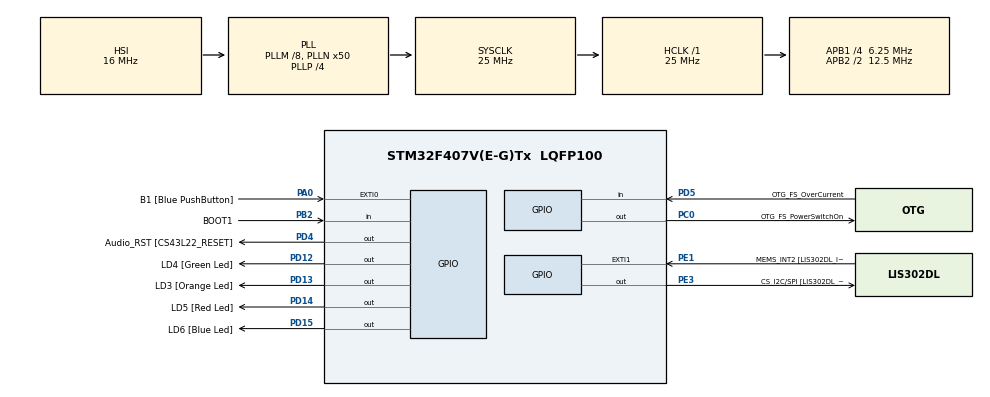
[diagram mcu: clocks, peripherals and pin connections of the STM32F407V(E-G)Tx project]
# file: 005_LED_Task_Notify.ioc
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Mcu.Family=STM32F4
Mcu.Name=STM32F407V(E-G)Tx
Mcu.Package=LQFP100
NVIC.PriorityGroup=NVIC_PRIORITYGROUP_4
NVIC.TIM6_DAC_IRQn=true\:15\:0\:false\:false\:true\:false\:true\:true
NVIC.TimeBase=TIM6_DAC_IRQn
NVIC.TimeBaseIP=TIM6
PA0-WKUP.GPIO_Label=B1 [Blue PushButton]
PA0-WKUP.Signal=GPXTI0
PA10.GPIO_Label=OTG_FS_ID
PA10.GPIO_Mode=GPIO_MODE_AF_PP
PA10.GPIO_PuPd=GPIO_NOPULL
PA10.GPIO_Speed=GPIO_SPEED_FREQ_LOW
PA10.Signal=USB_OTG_FS_ID
PA11.GPIO_Label=OTG_FS_DM
PA11.GPIO_Mode=GPIO_MODE_AF_PP
PA11.GPIO_PuPd=GPIO_NOPULL
PA11.GPIO_Speed=GPIO_SPEED_FREQ_LOW
PA11.Signal=USB_OTG_FS_DM
PA12.GPIO_Label=OTG_FS_DP
PA12.GPIO_Mode=GPIO_MODE_AF_PP
PA12.GPIO_PuPd=GPIO_NOPULL
PA12.GPIO_Speed=GPIO_SPEED_FREQ_LOW
PA12.Signal=USB_OTG_FS_DP
PA13.GPIO_Label=SWDIO
PA13.Signal=SYS_JTMS-SWDIO
PA14.GPIO_Label=SWCLK
PA14.Signal=SYS_JTCK-SWCLK
PA4.GPIO_Label=I2S3_WS [CS43L22_LRCK]
PA4.GPIO_Mode=GPIO_MODE_AF_PP
PA4.GPIO_PuPd=GPIO_NOPULL
PA4.GPIO_Speed=GPIO_SPEED_FREQ_LOW
PA4.Signal=I2S3_WS
PA5.GPIO_Label=SPI1_SCK [LIS302DL_SCL/SPC]
PA5.GPIO_Mode=GPIO_MODE_AF_PP
PA5.GPIO_PuPd=GPIO_NOPULL
PA5.GPIO_Speed=GPIO_SPEED_FREQ_LOW
PA5.Signal=SPI1_SCK
PA6.GPIO_Label=SPI1_MISO [LIS302DL_SDO]
PA6.GPIO_Mode=GPIO_MODE_AF_PP
PA6.GPIO_PuPd=GPIO_NOPULL
PA6.GPIO_Speed=GPIO_SPEED_FREQ_LOW
PA6.Signal=SPI1_MISO
PA7.GPIO_Label=SPI1_MOSI [LIS302DL_SDA/SDI/SDO]
PA7.GPIO_Mode=GPIO_MODE_AF_PP
PA7.GPIO_PuPd=GPIO_NOPULL
PA7.GPIO_Speed=GPIO_SPEED_FREQ_LOW
PA7.Signal=SPI1_MOSI
PA9.GPIO_Label=VBUS_FS
PA9.GPIO_Mode=GPIO_MODE_INPUT
PA9.GPIO_PuPd=GPIO_NOPULL
PA9.Signal=USB_OTG_FS_VBUS
PB10.GPIO_Label=CLK_IN [MP45DT02_CLK]
PB10.GPIO_Mode=GPIO_MODE_AF_PP
PB10.GPIO_PuPd=GPIO_NOPULL
PB10.GPIO_Speed=GPIO_SPEED_FREQ_LOW
PB10.Signal=I2S2_CK
PB2.GPIO_Label=BOOT1
PB2.GPIO_Mode=GPIO_MODE_INPUT
PB2.GPIO_PuPd=GPIO_NOPULL
PB2.Signal=GPIO_Input
PB3.GPIO_Label=SWO
PB3.Signal=SYS_JTDO-SWO
PB6.GPIO_Label=Audio_SCL [CS43L22_SCL]
PB6.GPIO_Mode=GPIO_MODE_AF_OD
PB6.GPIO_PuPd=GPIO_NOPULL
PB6.GPIO_Speed=GPIO_SPEED_FREQ_LOW
PB6.Signal=I2C1_SCL
PB9.GPIO_Label=Audio_SDA [CS43L22_SDA]
PB9.GPIO_Mode=GPIO_MODE_AF_OD
PB9.GPIO_PuPd=GPIO_NOPULL
PB9.GPIO_Speed=GPIO_SPEED_FREQ_LOW
PB9.Signal=I2C1_SDA
PC0.GPIO_Label=OTG_FS_PowerSwitchOn
PC0.GPIO_PuPd=GPIO_NOPULL
PC0.GPIO_Speed=GPIO_SPEED_FREQ_LOW
PC0.PinState=GPIO_PIN_SET
PC0.Signal=GPIO_Output
PC10.GPIO_Label=I2S3_SCK [CS43L22_SCLK]
PC10.GPIO_Mode=GPIO_MODE_AF_PP
PC10.GPIO_PuPd=GPIO_NOPULL
PC10.GPIO_Speed=GPIO_SPEED_FREQ_LOW
PC10.Signal=I2S3_CK
PC12.GPIO_Label=I2S3_SD [CS43L22_SDIN]
PC12.GPIO_Mode=GPIO_MODE_AF_PP
PC12.GPIO_PuPd=GPIO_NOPULL
PC12.GPIO_Speed=GPIO_SPEED_FREQ_LOW
PC12.Signal=I2S3_SD
PC14-OSC32_IN.GPIO_Label=PC14-OSC32_IN
PC14-OSC32_IN.Signal=RCC_OSC32_IN
PC15-OSC32_OUT.GPIO_Label=PC15-OSC32_OUT
PC15-OSC32_OUT.Signal=RCC_OSC32_OUT
PC3.GPIO_Label=PDM_OUT [MP45DT02_DOUT]
PC3.GPIO_Mode=GPIO_MODE_AF_PP
PC3.GPIO_PuPd=GPIO_NOPULL
PC3.GPIO_Speed=GPIO_SPEED_FREQ_LOW
PC3.Signal=I2S2_SD
PC7.GPIO_Label=I2S3_MCK [CS43L22_MCLK]
PC7.GPIO_Mode=GPIO_MODE_AF_PP
PC7.GPIO_PuPd=GPIO_NOPULL
PC7.GPIO_Speed=GPIO_SPEED_FREQ_LOW
PC7.Signal=I2S3_MCK
PD12.GPIO_Label=LD4 [Green Led]
PD12.GPIO_PuPd=GPIO_NOPULL
PD12.GPIO_Speed=GPIO_SPEED_FREQ_LOW
PD12.Signal=GPIO_Output
PD13.GPIO_Label=LD3 [Orange Led]
PD13.GPIO_PuPd=GPIO_NOPULL
PD13.GPIO_Speed=GPIO_SPEED_FREQ_LOW
PD13.Signal=GPIO_Output
PD14.GPIO_Label=LD5 [Red Led]
PD14.GPIO_PuPd=GPIO_NOPULL
PD14.GPIO_Speed=GPIO_SPEED_FREQ_LOW
PD14.Signal=GPIO_Output
PD15.GPIO_Label=LD6 [Blue Led]
PD15.GPIO_PuPd=GPIO_NOPULL
PD15.GPIO_Speed=GPIO_SPEED_FREQ_LOW
PD15.Signal=GPIO_Output
PD4.GPIO_Label=Audio_RST [CS43L22_RESET]
PD4.GPIO_PuPd=GPIO_NOPULL
PD4.GPIO_Speed=GPIO_SPEED_FREQ_LOW
PD4.Signal=GPIO_Output
PD5.GPIO_Label=OTG_FS_OverCurrent
PD5.GPIO_Mode=GPIO_MODE_INPUT
PD5.GPIO_PuPd=GPIO_NOPULL
PD5.Signal=GPIO_Input
PE1.GPIO_Label=MEMS_INT2 [LIS302DL_INT2]
PE1.GPIO_ModeDefaultEXTI=GPIO_MODE_EVT_RISING
PE1.GPIO_PuPd=GPIO_NOPULL
PE1.Signal=GPXTI1
PE3.GPIO_Label=CS_I2C/SPI [LIS302DL_CS_I2C/SPI]
PE3.GPIO_PuPd=GPIO_NOPULL
PE3.GPIO_Speed=GPIO_SPEED_FREQ_LOW
PE3.Signal=GPIO_Output
PH0-OSC_IN.GPIO_Label=PH0-OSC_IN
PH0-OSC_IN.Signal=RCC_OSC_IN
PH1-OSC_OUT.GPIO_Label=PH1-OSC_OUT
PH1-OSC_OUT.Signal=RCC_OSC_OUT
ProjectManager.HeapSize=0x200
ProjectManager.StackSize=0x400
ProjectManager.TargetToolchain=STM32CubeIDE
RCC.48MHZClocksFreq_Value=14285714.285714285
RCC.AHBFreq_Value=25000000
RCC.APB1CLKDivider=RCC_HCLK_DIV4
RCC.APB1Freq_Value=6250000
RCC.APB1TimFreq_Value=12500000
RCC.APB2CLKDivider=RCC_HCLK_DIV2
RCC.APB2Freq_Value=12500000
RCC.APB2TimFreq_Value=25000000
RCC.CortexFreq_Value=25000000
RCC.HCLKFreq_Value=25000000
RCC.HSE_VALUE=8000000
RCC.HSI_VALUE=16000000
RCC.LSE_VALUE=32768
RCC.PLLM=8
RCC.PLLN=50
RCC.PLLP=RCC_PLLP_DIV4
RCC.PLLQ=7
RCC.SYSCLKFreq_VALUE=25000000
RCC.SYSCLKSource=RCC_SYSCLKSOURCE_PLLCLK
RCC.VCOOutputFreq_Value=100000000
VP_SYS_VS_tim6.Mode=TIM6
board=STM32F407G-DISC1

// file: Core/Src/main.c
/* USER CODE BEGIN Header */
/**
  ******************************************************************************
  * @file           : main.c
  * @brief          : Main program body
  ******************************************************************************
  * @attention
  *
  * Copyright (c) 2025 STMicroelectronics.
  * All rights reserved.
  *
  * This software is licensed under terms that can be found in the LICENSE file
  * in the root directory of this software component.
  * If no LICENSE file comes with this software, it is provided AS-IS.
  *
  ******************************************************************************
  */
/* USER CODE END Header */
#include "main.h"

/* USER CODE BEGIN Includes */
#include <stdio.h>
#include "FreeRTOS.h"
#include "task.h"

/* USER CODE END Includes */

/* USER CODE BEGIN PV */
#define DWT_CTRL	(*(volatile uint32_t*)0xE0001000)

/* USER CODE END PV */

void SystemClock_Config(void);
static void MX_GPIO_Init(void);
/* USER CODE BEGIN PFP */
static void led_green_handler (void * parameters);
static void led_red_handler (void * parameters);
static void led_orange_handler (void * parameters);
static void button_handler(void * parameters);

extern void SEGGER_UART_init(uint32_t);
/* USER CODE END PFP */

/* USER CODE BEGIN 0 */
TaskHandle_t ledg_task_handle;
TaskHandle_t ledo_task_handle;
TaskHandle_t ledr_task_handle;
TaskHandle_t btn_task_handle;

TaskHandle_t volatile next_task_handle = NULL;

/* USER CODE END 0 */

int main(void)
{

  /* USER CODE BEGIN 1 */

	BaseType_t status;
  /* USER CODE END 1 */

  /* MCU Configuration--------------------------------------------------------*/

  /* Reset of all peripherals, Initializes the Flash interface and the Systick. */

	HAL_Init();

  /* Configure the system clock */
  SystemClock_Config();

  /* Initialize all configured peripherals */
  MX_GPIO_Init();
  /* USER CODE BEGIN 2 */

  //Enable the CYCCNT counter.
  DWT_CTRL |= (1 << 0);

  SEGGER_UART_init(250000);

  //call the below API to get the logs in sysview app
  SEGGER_SYSVIEW_Conf();
  //SEGGER_SYSVIEW_Start(); //will be called in segger_uart.c file

  status = xTaskCreate (led_green_handler, "LED_Green_Task", 200, NULL, 3, &ledg_task_handle);
  configASSERT(status == pdPASS);

  next_task_handle = ledg_task_handle;

  status = xTaskCreate (led_orange_handler, "LED_Orange_Task", 200, NULL, 2, &ledo_task_handle);
  configASSERT(status == pdPASS);

  status = xTaskCreate (led_red_handler, "LED_Red_Task", 200, NULL, 1, &ledr_task_handle);
  configASSERT(status == pdPASS);

  status = xTaskCreate (button_handler, "BUTTON_TASK", 200, NULL, 4, &btn_task_handle);
  configASSERT(status == pdPASS);

  //start FreeRTOS Scheduler
  vTaskStartScheduler(); //returns only if it has any problem
  //if control comes here, launch of scheduler failed due to insufficient memory in heap

  /* USER CODE END 2 */

  /* Infinite loop */
  while (1)
  {

  }
}

void SystemClock_Config(void)
{
  RCC_OscInitTypeDef RCC_OscInitStruct = {0};
  RCC_ClkInitTypeDef RCC_ClkInitStruct = {0};

  /** Configure the main internal regulator output voltage
  */
  __HAL_RCC_PWR_CLK_ENABLE();
  __HAL_PWR_VOLTAGESCALING_CONFIG(PWR_REGULATOR_VOLTAGE_SCALE1);

  /** Initializes the RCC Oscillators according to the specified parameters
  * in the RCC_OscInitTypeDef structure.
  */
  RCC_OscInitStruct.OscillatorType = RCC_OSCILLATORTYPE_HSI;
  RCC_OscInitStruct.HSIState = RCC_HSI_ON;
  RCC_OscInitStruct.HSICalibrationValue = RCC_HSICALIBRATION_DEFAULT;
  RCC_OscInitStruct.PLL.PLLState = RCC_PLL_ON;
  RCC_OscInitStruct.PLL.PLLSource = RCC_PLLSOURCE_HSI;
  RCC_OscInitStruct.PLL.PLLM = 8;
  RCC_OscInitStruct.PLL.PLLN = 50;
  RCC_OscInitStruct.PLL.PLLP = RCC_PLLP_DIV4;
  RCC_OscInitStruct.PLL.PLLQ = 7;
  if (HAL_RCC_OscConfig(&RCC_OscInitStruct) != HAL_OK)
  {
    Error_Handler();
  }

  /** Initializes the CPU, AHB and APB buses clocks
  */
  RCC_ClkInitStruct.ClockType = RCC_CLOCKTYPE_HCLK|RCC_CLOCKTYPE_SYSCLK
                              |RCC_CLOCKTYPE_PCLK1|RCC_CLOCKTYPE_PCLK2;
  RCC_ClkInitStruct.SYSCLKSource = RCC_SYSCLKSOURCE_PLLCLK;
  RCC_ClkInitStruct.AHBCLKDivider = RCC_SYSCLK_DIV1;
  RCC_ClkInitStruct.APB1CLKDivider = RCC_HCLK_DIV4;
  RCC_ClkInitStruct.APB2CLKDivider = RCC_HCLK_DIV2;

  if (HAL_RCC_ClockConfig(&RCC_ClkInitStruct, FLASH_LATENCY_0) != HAL_OK)
  {
    Error_Handler();
  }
}

static void MX_GPIO_Init(void)
{
  GPIO_InitTypeDef GPIO_InitStruct = {0};

  /* GPIO Ports Clock Enable */
  __HAL_RCC_GPIOE_CLK_ENABLE();
  __HAL_RCC_GPIOC_CLK_ENABLE();
  __HAL_RCC_GPIOH_CLK_ENABLE();
  __HAL_RCC_GPIOA_CLK_ENABLE();
  __HAL_RCC_GPIOB_CLK_ENABLE();
  __HAL_RCC_GPIOD_CLK_ENABLE();

  /*Configure GPIO pin Output Level */
  HAL_GPIO_WritePin(CS_I2C_SPI_GPIO_Port, CS_I2C_SPI_Pin, GPIO_PIN_RESET);

  /*Configure GPIO pin Output Level */
  HAL_GPIO_WritePin(OTG_FS_PowerSwitchOn_GPIO_Port, OTG_FS_PowerSwitchOn_Pin, GPIO_PIN_SET);

  /*Configure GPIO pin Output Level */
  HAL_GPIO_WritePin(GPIOD, LD4_Pin|LD3_Pin|LD5_Pin|LD6_Pin
                          |Audio_RST_Pin, GPIO_PIN_RESET);

  /*Configure GPIO pin : CS_I2C_SPI_Pin */
  GPIO_InitStruct.Pin = CS_I2C_SPI_Pin;
  GPIO_InitStruct.Mode = GPIO_MODE_OUTPUT_PP;
  GPIO_InitStruct.Pull = GPIO_NOPULL;
  GPIO_InitStruct.Speed = GPIO_SPEED_FREQ_LOW;
  HAL_GPIO_Init(CS_I2C_SPI_GPIO_Port, &GPIO_InitStruct);

  /*Configure GPIO pin : OTG_FS_PowerSwitchOn_Pin */
  GPIO_InitStruct.Pin = OTG_FS_PowerSwitchOn_Pin;
  GPIO_InitStruct.Mode = GPIO_MODE_OUTPUT_PP;
  GPIO_InitStruct.Pull = GPIO_NOPULL;
  GPIO_InitStruct.Speed = GPIO_SPEED_FREQ_LOW;
  HAL_GPIO_Init(OTG_FS_PowerSwitchOn_GPIO_Port, &GPIO_InitStruct);

  /*Configure GPIO pin : PDM_OUT_Pin */
  GPIO_InitStruct.Pin = PDM_OUT_Pin;
  GPIO_InitStruct.Mode = GPIO_MODE_AF_PP;
  GPIO_InitStruct.Pull = GPIO_NOPULL;
  GPIO_InitStruct.Speed = GPIO_SPEED_FREQ_LOW;
  GPIO_InitStruct.Alternate = GPIO_AF5_SPI2;
  HAL_GPIO_Init(PDM_OUT_GPIO_Port, &GPIO_InitStruct);

  /*Configure GPIO pin : B1_Pin */
  GPIO_InitStruct.Pin = B1_Pin;
  GPIO_InitStruct.Mode = GPIO_MODE_IT_RISING;
  GPIO_InitStruct.Pull = GPIO_NOPULL;
  HAL_GPIO_Init(B1_GPIO_Port, &GPIO_InitStruct);

  /*Configure GPIO pin : I2S3_WS_Pin */
  GPIO_InitStruct.Pin = I2S3_WS_Pin;
  GPIO_InitStruct.Mode = GPIO_MODE_AF_PP;
  GPIO_InitStruct.Pull = GPIO_NOPULL;
  GPIO_InitStruct.Speed = GPIO_SPEED_FREQ_LOW;
  GPIO_InitStruct.Alternate = GPIO_AF6_SPI3;
  HAL_GPIO_Init(I2S3_WS_GPIO_Port, &GPIO_InitStruct);

  /*Configure GPIO pins : SPI1_SCK_Pin SPI1_MISO_Pin SPI1_MOSI_Pin */
  GPIO_InitStruct.Pin = SPI1_SCK_Pin|SPI1_MISO_Pin|SPI1_MOSI_Pin;
  GPIO_InitStruct.Mode = GPIO_MODE_AF_PP;
  GPIO_InitStruct.Pull = GPIO_NOPULL;
  GPIO_InitStruct.Speed = GPIO_SPEED_FREQ_LOW;
  GPIO_InitStruct.Alternate = GPIO_AF5_SPI1;
  HAL_GPIO_Init(GPIOA, &GPIO_InitStruct);

  /*Configure GPIO pin : BOOT1_Pin */
  GPIO_InitStruct.Pin = BOOT1_Pin;
  GPIO_InitStruct.Mode = GPIO_MODE_INPUT;
  GPIO_InitStruct.Pull = GPIO_NOPULL;
  HAL_GPIO_Init(BOOT1_GPIO_Port, &GPIO_InitStruct);

  /*Configure GPIO pin : CLK_IN_Pin */
  GPIO_InitStruct.Pin = CLK_IN_Pin;
  GPIO_InitStruct.Mode = GPIO_MODE_AF_PP;
  GPIO_InitStruct.Pull = GPIO_NOPULL;
  GPIO_InitStruct.Speed = GPIO_SPEED_FREQ_LOW;
  GPIO_InitStruct.Alternate = GPIO_AF5_SPI2;
  HAL_GPIO_Init(CLK_IN_GPIO_Port, &GPIO_InitStruct);

  /*Configure GPIO pins : LD4_Pin LD3_Pin LD5_Pin LD6_Pin
                           Audio_RST_Pin */
  GPIO_InitStruct.Pin = LD4_Pin|LD3_Pin|LD5_Pin|LD6_Pin
                          |Audio_RST_Pin;
  GPIO_InitStruct.Mode = GPIO_MODE_OUTPUT_PP;
  GPIO_InitStruct.Pull = GPIO_NOPULL;
  GPIO_InitStruct.Speed = GPIO_SPEED_FREQ_LOW;
  HAL_GPIO_Init(GPIOD, &GPIO_InitStruct);

  /*Configure GPIO pins : I2S3_MCK_Pin I2S3_SCK_Pin I2S3_SD_Pin */
  GPIO_InitStruct.Pin = I2S3_MCK_Pin|I2S3_SCK_Pin|I2S3_SD_Pin;
  GPIO_InitStruct.Mode = GPIO_MODE_AF_PP;
  GPIO_InitStruct.Pull = GPIO_NOPULL;
  GPIO_InitStruct.Speed = GPIO_SPEED_FREQ_LOW;
  GPIO_InitStruct.Alternate = GPIO_AF6_SPI3;
  HAL_GPIO_Init(GPIOC, &GPIO_InitStruct);

  /*Configure GPIO pin : VBUS_FS_Pin */
  GPIO_InitStruct.Pin = VBUS_FS_Pin;
  GPIO_InitStruct.Mode = GPIO_MODE_INPUT;
  GPIO_InitStruct.Pull = GPIO_NOPULL;
  HAL_GPIO_Init(VBUS_FS_GPIO_Port, &GPIO_InitStruct);

  /*Configure GPIO pins : OTG_FS_ID_Pin OTG_FS_DM_Pin OTG_FS_DP_Pin */
  GPIO_InitStruct.Pin = OTG_FS_ID_Pin|OTG_FS_DM_Pin|OTG_FS_DP_Pin;
  GPIO_InitStruct.Mode = GPIO_MODE_AF_PP;
  GPIO_InitStruct.Pull = GPIO_NOPULL;
  GPIO_InitStruct.Speed = GPIO_SPEED_FREQ_LOW;
  GPIO_InitStruct.Alternate = GPIO_AF10_OTG_FS;
  HAL_GPIO_Init(GPIOA, &GPIO_InitStruct);

  /*Configure GPIO pin : OTG_FS_OverCurrent_Pin */
  GPIO_InitStruct.Pin = OTG_FS_OverCurrent_Pin;
  GPIO_InitStruct.Mode = GPIO_MODE_INPUT;
  GPIO_InitStruct.Pull = GPIO_NOPULL;
  HAL_GPIO_Init(OTG_FS_OverCurrent_GPIO_Port, &GPIO_InitStruct);

  /*Configure GPIO pins : Audio_SCL_Pin Audio_SDA_Pin */
  GPIO_InitStruct.Pin = Audio_SCL_Pin|Audio_SDA_Pin;
  GPIO_InitStruct.Mode = GPIO_MODE_AF_OD;
  GPIO_InitStruct.Pull = GPIO_NOPULL;
  GPIO_InitStruct.Speed = GPIO_SPEED_FREQ_LOW;
  GPIO_InitStruct.Alternate = GPIO_AF4_I2C1;
  HAL_GPIO_Init(GPIOB, &GPIO_InitStruct);

  /*Configure GPIO pin : MEMS_INT2_Pin */
  GPIO_InitStruct.Pin = MEMS_INT2_Pin;
  GPIO_InitStruct.Mode = GPIO_MODE_EVT_RISING;
  GPIO_InitStruct.Pull = GPIO_NOPULL;
  HAL_GPIO_Init(MEMS_INT2_GPIO_Port, &GPIO_InitStruct);

}

/* USER CODE BEGIN 4 */
static void led_green_handler (void * parameters)
{
	BaseType_t status;
	while(1) {
		SEGGER_SYSVIEW_PrintfTarget("Toggling LED Green\n");
		HAL_GPIO_TogglePin(GPIOD, LED_GREEN_PIN);
		status = xTaskNotifyWait (0, 0, NULL, pdMS_TO_TICKS(1000));
		if(status == pdTRUE){
			vTaskSuspendAll();
			next_task_handle = ledo_task_handle;
			xTaskResumeAll();
			HAL_GPIO_WritePin(GPIOD, LED_GREEN_PIN, GPIO_PIN_SET);
			SEGGER_SYSVIEW_PrintfTarget("Delete Green Led\n");
//			vTaskDelete(NULL);
			vTaskSuspend(ledg_task_handle);

		}
	}
}

static void led_orange_handler (void * parameters)
{
	BaseType_t status;

	while(1) {
		SEGGER_SYSVIEW_PrintfTarget("Toggling LED Orange\n");
		HAL_GPIO_TogglePin(GPIOD, LED_ORANGE_PIN);
		status = xTaskNotifyWait (0, 0, NULL, pdMS_TO_TICKS(800));
		if(status == pdTRUE){
			vTaskSuspendAll();
			next_task_handle = ledr_task_handle;
			xTaskResumeAll();
			HAL_GPIO_WritePin(GPIOD, LED_ORANGE_PIN, GPIO_PIN_SET);
			SEGGER_SYSVIEW_PrintfTarget("Delete Orange Led\n");
//			vTaskDelete(NULL);
			vTaskSuspend(ledo_task_handle);
		}
	}
}
static void led_red_handler (void * parameters)
{
	BaseType_t status;
	while(1) {
		SEGGER_SYSVIEW_PrintfTarget("Toggling LED Red\n");
		HAL_GPIO_TogglePin(GPIOD, LED_RED_PIN);
		status = xTaskNotifyWait (0, 0, NULL, pdMS_TO_TICKS(400));
		if(status == pdTRUE){
			vTaskSuspendAll();
			next_task_handle = NULL;
			xTaskResumeAll();
			HAL_GPIO_WritePin(GPIOD, LED_RED_PIN, GPIO_PIN_SET);
			SEGGER_SYSVIEW_PrintfTarget("Delete Red Led\n");
			vTaskSuspend(ledr_task_handle);
//			vTaskDelete(btn_task_handle);
//			vTaskDelete(NULL);
		}
	}
}

static void button_handler(void * parameters)
{
	uint8_t btn_read = 0;
	uint8_t prev_read = 0;
	while(1)
	{
		btn_read = HAL_GPIO_ReadPin(GPIOA, GPIO_PIN_0);
		if(btn_read)
		{
			if(!prev_read) {
				if(next_task_handle == NULL) {
					vTaskResume(ledg_task_handle);
					vTaskResume(ledo_task_handle);
					vTaskResume(ledr_task_handle);
					next_task_handle = ledg_task_handle;
				}else
					xTaskNotify(next_task_handle, 0, eNoAction);

			}
		}
		prev_read = btn_read;
		vTaskDelay(pdMS_TO_TICKS(10));
	}
}

/* USER CODE END 4 */

void HAL_TIM_PeriodElapsedCallback(TIM_HandleTypeDef *htim)
{
  if (htim->Instance == TIM6)
  {
    HAL_IncTick();
  }
}

void Error_Handler(void)
{
  __disable_irq();
  while (1)
  {
  }
}
